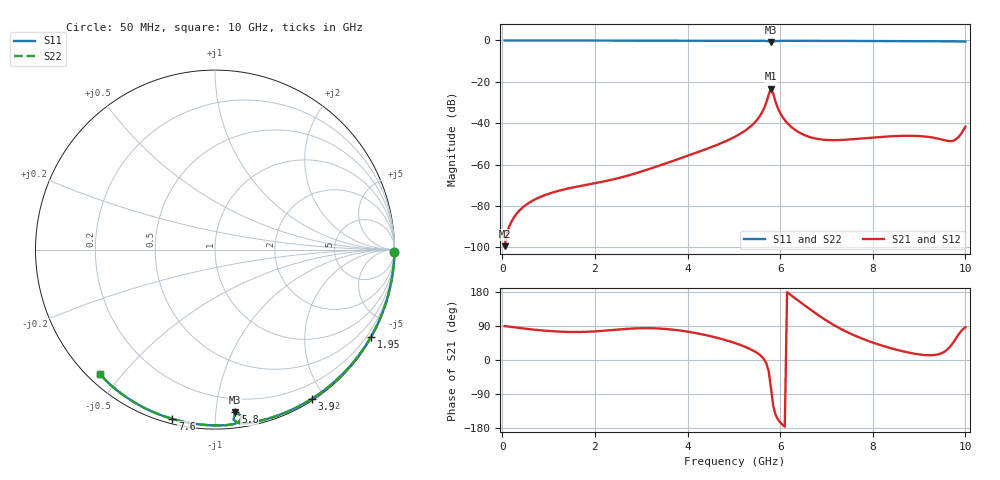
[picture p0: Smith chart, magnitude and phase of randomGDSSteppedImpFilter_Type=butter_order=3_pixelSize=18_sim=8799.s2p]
! freq	dB(S11)	phase(S11)	dB(S12)	phase(S12)
!  dB(S21)	phase(S21)	dB(S22)	phase(S22)
!S-par simulation data
#  GHz  S  DB  R 50
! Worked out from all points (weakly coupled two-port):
!   200 points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, 50 MHz to 10 GHz, reference 50 ohm
!   highest |S21| = -23.27 dB at 5.8 GHz (marker M1); lowest = -99.4 dB at 50 MHz (marker M2)
!   lowest |S11| = -0.8 dB at 5.8 GHz (marker M3), VSWR 22.09, Z = 5.15 - j56.4 ohm
!   |S11| at or under -10 dB: nowhere
!   |S22| runs from -0.8 to 0.0 dB; largest |S21 - S12| = 0
!   S11 on the Smith chart (normalised r, x): 50 MHz: open; 1.95 GHz: 0.03, -3.83; 3.9 GHz: 0.02, -1.84; 5.8 GHz: 0.10, -1.13; 7.6 GHz: 0.02, -0.78; 10 GHz: 0.03, -0.44
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0.05  -0.00 -0.8  -99.37 89.4  -99.37 89.4  -0.00 -0.8
0.45  -0.01 -6.8  -80.49 83.2  -80.49 83.2  -0.01 -6.8
1  -0.02 -15.1  -74.07 76.6  -74.07 76.6  -0.02 -15.1
1.75  -0.03 -26.3  -70.03 74.2  -70.03 74.2  -0.03 -26.3
1.95  -0.04 -29.3  -69.18 75.2  -69.18 75.2  -0.04 -29.3
3.4  -0.07 -50.1  -60.38 83.0  -60.38 83.0  -0.07 -50.1
3.9  -0.08 -57.1  -56.51 76.7  -56.51 76.7  -0.08 -57.1
5.05  -0.11 -72.7  -46.20 43.6  -46.20 43.6  -0.11 -72.7
5.35  -0.13 -76.8  -41.75 28.9  -41.75 28.9  -0.13 -76.8
5.55  -0.15 -79.8  -36.89 14.6  -36.89 14.6  -0.15 -79.8
5.65  -0.18 -81.5  -32.91 2.3  -32.91 2.3  -0.18 -81.5
5.8  -0.79 -82.9  -23.27 -72.2  -23.27 -72.2  -0.79 -82.9
5.95  -0.24 -82.7  -32.64 -156.2  -32.64 -156.2  -0.24 -82.7
6.15  -0.18 -85.9  -39.79 178.9  -39.79 178.9  -0.18 -85.9
6.4  -0.18 -89.3  -44.30 155.9  -44.30 155.9  -0.18 -89.3
6.7  -0.19 -93.1  -47.03 129.1  -47.03 129.1  -0.19 -93.1
7.6  -0.24 -104.1  -47.65 65.1  -47.65 65.1  -0.24 -104.1
8.35  -0.30 -113.0  -46.35 32.5  -46.35 32.5  -0.30 -113.0
9.05  -0.36 -121.2  -46.26 14.0  -46.26 14.0  -0.36 -121.2
9.7  -0.44 -129.0  -48.59 39.9  -48.59 39.9  -0.44 -129.0
9.85  -0.47 -130.8  -46.65 66.9  -46.65 66.9  -0.47 -130.8
10  -0.51 -132.8  -41.71 86.3  -41.71 86.3  -0.51 -132.8
